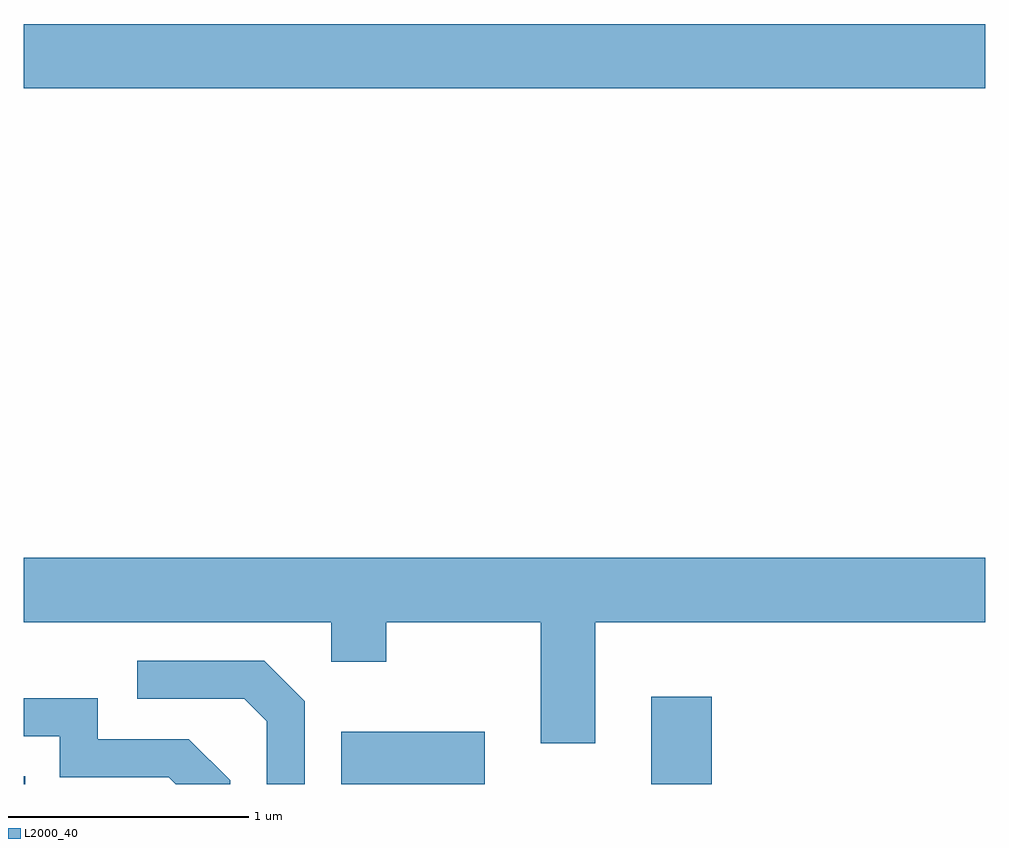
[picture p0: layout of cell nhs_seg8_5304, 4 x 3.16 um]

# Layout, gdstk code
import gdstk
lib = gdstk.Library(unit=1e-6, precision=1e-09)
def R(c, l, rs):  # rectangles x0, y0, x1, y1
    for r in rs: c.add(gdstk.rectangle(r[:2], r[2:], *l))
def P(c, l, *ps):  # polygons
    for p in ps: c.add(gdstk.Polygon(p, *l))
L2000_40 = (2000, 40)

nhs_seg8_5304 = lib.new_cell('nhs_seg8_5304')
R(nhs_seg8_5304, L2000_40, [(343.611,1902.342,343.618,1902.374), (344.931,1902.342,345.529,1902.559), (346.221,1902.342,346.474,1902.704), (343.611,1905.236,347.611,1905.504)])
P(nhs_seg8_5304, L2000_40, [(345.989,1903.016),(347.611,1903.016),(347.611,1903.284),(343.611,1903.284),(343.611,1903.016),(344.891,1903.016),(344.891,1902.851),(345.119,1902.851),(345.119,1903.016),(345.761,1903.016),(345.761,1902.511),(345.989,1902.511)],
  [(344.779,1902.687),(344.612,1902.854),(344.083,1902.854),(344.083,1902.696),(344.529,1902.696),(344.621,1902.604),(344.621,1902.342),(344.779,1902.342)],
  [(344.469,1902.357),(344.297,1902.529),(343.919,1902.529),(343.919,1902.699),(343.611,1902.699),(343.611,1902.541),(343.761,1902.541),(343.761,1902.371),(344.214,1902.371),(344.243,1902.342),(344.469,1902.342)])

lib.write_gds('nhs_seg8_5304.gds')
